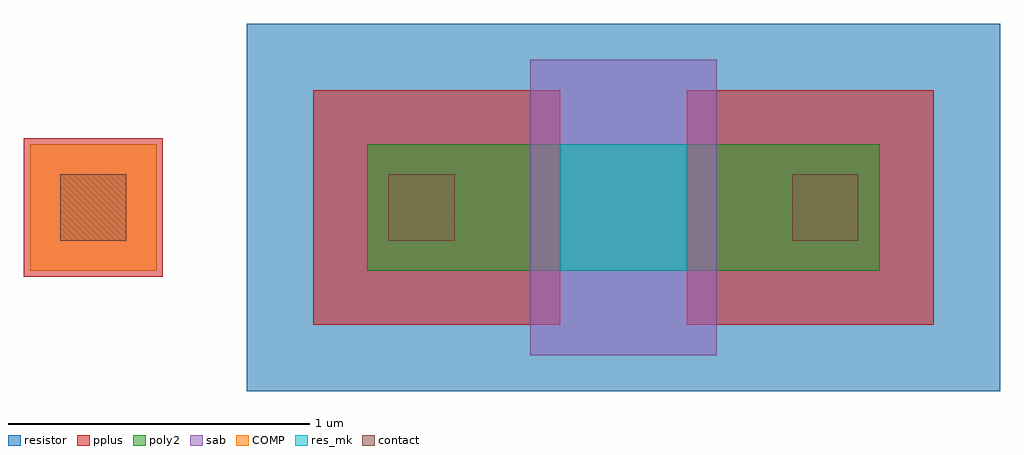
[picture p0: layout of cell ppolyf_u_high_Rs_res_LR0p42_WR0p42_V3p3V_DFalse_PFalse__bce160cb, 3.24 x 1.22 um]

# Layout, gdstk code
import gdstk
lib = gdstk.Library(unit=1e-6, precision=1e-09)
def R(c, l, rs):  # rectangles x0, y0, x1, y1
    for r in rs: c.add(gdstk.rectangle(r[:2], r[2:], *l))
COMP = (22, 0)
poly2 = (30, 0)
pplus = (31, 0)
contact = (33, 0)
sab = (49, 0)
resistor = (62, 0)
res_mk = (110, 5)

rectangle_gdsfactorypcom = lib.new_cell('rectangle_gdsfactorypcomponentspshapesprectangle_S0p42__9defb0e0')
R(rectangle_gdsfactorypcom, res_mk, [(0,0,0.42,0.42)])

c_rectangle_gdsfactorypcom = lib.new_cell('rectangle_gdsfactorypcomponentspshapesprectangle_S2p5_1_dba4abf3')
R(c_rectangle_gdsfactorypcom, resistor, [(0,0,2.5,1.22)])

c_rectangle_gdsfactorypcom_ = lib.new_cell('rectangle_gdsfactorypcomponentspshapesprectangle_S0p62__769ffead')
R(c_rectangle_gdsfactorypcom_, sab, [(0,0,0.62,0.98)])

c_rectangle_gdsfactorypcom__ = lib.new_cell('rectangle_gdsfactorypcomponentspshapesprectangle_S1p7_0_75497781')
R(c_rectangle_gdsfactorypcom__, poly2, [(0,0,1.7,0.42)])

c_rectangle_gdsfactorypcom___ = lib.new_cell('rectangle_gdsfactorypcomponentspshapesprectangle_S0p22__bfea7709')
R(c_rectangle_gdsfactorypcom___, contact, [(0,0,0.22,0.22)])

via_generator_xrm0p64_m0 = lib.new_cell('via_generator_XRm0p64_m0p28_YR0_0p42_VS0p22_0p22_VLcont_acec08f6')
via_generator_xrm0p64_m0.add(gdstk.Reference(c_rectangle_gdsfactorypcom___, (-0.57,0.1)))

c_rectangle_gdsfactorypcom____ = lib.new_cell('rectangle_gdsfactorypcomponentspshapesprectangle_S0p34__2985b6db')
R(c_rectangle_gdsfactorypcom____, poly2, [(0,0,0.34,0.34)])

via_stack_xrm0p64_m0p28_ = lib.new_cell('via_stack_XRm0p64_m0p28_YR0_0p42_ML1_CS0p22_0p22_CE0p07_3064851a')
via_stack_xrm0p64_m0p28_.add(gdstk.Reference(via_generator_xrm0p64_m0, (0,0)))
via_stack_xrm0p64_m0p28_.add(gdstk.Reference(c_rectangle_gdsfactorypcom____, (-0.63,0.04)))

c_rectangle_gdsfactorypcom_____ = lib.new_cell('rectangle_gdsfactorypcomponentspshapesprectangle_S0p820_d2db6088')
R(c_rectangle_gdsfactorypcom_____, pplus, [(0,0,0.82,0.78)])

c_rectangle_gdsfactorypcom______ = lib.new_cell('rectangle_gdsfactorypcomponentspshapesprectangle_S0p42__886a1b35')
R(c_rectangle_gdsfactorypcom______, COMP, [(0,0,0.42,0.42)])

via_generator_xrm1p76_m1 = lib.new_cell('via_generator_XRm1p76_m1p34_YR0_0p42_VS0p22_0p22_VLcont_fd4ad7d2')
via_generator_xrm1p76_m1.add(gdstk.Reference(c_rectangle_gdsfactorypcom___, (-1.66,0.1)))

c_rectangle_gdsfactorypcom_______ = lib.new_cell('rectangle_gdsfactorypcomponentspshapesprectangle_S0p340_842b5281')
R(c_rectangle_gdsfactorypcom_______, COMP, [(0,0,0.34,0.34)])

via_stack_xrm1p76_m1p34_ = lib.new_cell('via_stack_XRm1p76_m1p34_YR0_0p42_ML1_CS0p22_0p22_CE0p07_f709be3c')
via_stack_xrm1p76_m1p34_.add(gdstk.Reference(via_generator_xrm1p76_m1, (0,0)))
via_stack_xrm1p76_m1p34_.add(gdstk.Reference(c_rectangle_gdsfactorypcom_______, (-1.72,0.04)))

c_rectangle_gdsfactorypcom________ = lib.new_cell('rectangle_gdsfactorypcomponentspshapesprectangle_S0p459_94fb10f1')
R(c_rectangle_gdsfactorypcom________, pplus, [(0,0,0.46,0.46)])

ppolyf_u_high_rs_res_lr0 = lib.new_cell('ppolyf_u_high_Rs_res_LR0p42_WR0p42_V3p3V_DFalse_PFalse__bce160cb')
ppolyf_u_high_rs_res_lr0.add(gdstk.Reference(rectangle_gdsfactorypcom, (0,0)))
ppolyf_u_high_rs_res_lr0.add(gdstk.Reference(c_rectangle_gdsfactorypcom, (-1.04,-0.4)))
ppolyf_u_high_rs_res_lr0.add(gdstk.Reference(c_rectangle_gdsfactorypcom_, (-0.1,-0.28)))
ppolyf_u_high_rs_res_lr0.add(gdstk.Reference(c_rectangle_gdsfactorypcom__, (-0.64,0)))
r = gdstk.Reference(via_stack_xrm0p64_m0p28_, (0,0)); r.repetition = gdstk.Repetition(2, 1, v1=(1.34,0), v2=(0,0)); ppolyf_u_high_rs_res_lr0.add(r)
r = gdstk.Reference(c_rectangle_gdsfactorypcom_____, (-0.82,-0.18)); r.repetition = gdstk.Repetition(2, 1, v1=(1.24,0), v2=(0,0)); ppolyf_u_high_rs_res_lr0.add(r)
ppolyf_u_high_rs_res_lr0.add(gdstk.Reference(c_rectangle_gdsfactorypcom______, (-1.76,0)))
ppolyf_u_high_rs_res_lr0.add(gdstk.Reference(via_stack_xrm1p76_m1p34_, (0,0)))
ppolyf_u_high_rs_res_lr0.add(gdstk.Reference(c_rectangle_gdsfactorypcom________, (-1.78,-0.02)))

lib.write_gds('ppolyf_u_high_Rs_res_LR0p42_WR0p42_V3p3V_DFalse_PFalse__bce160cb.gds')
